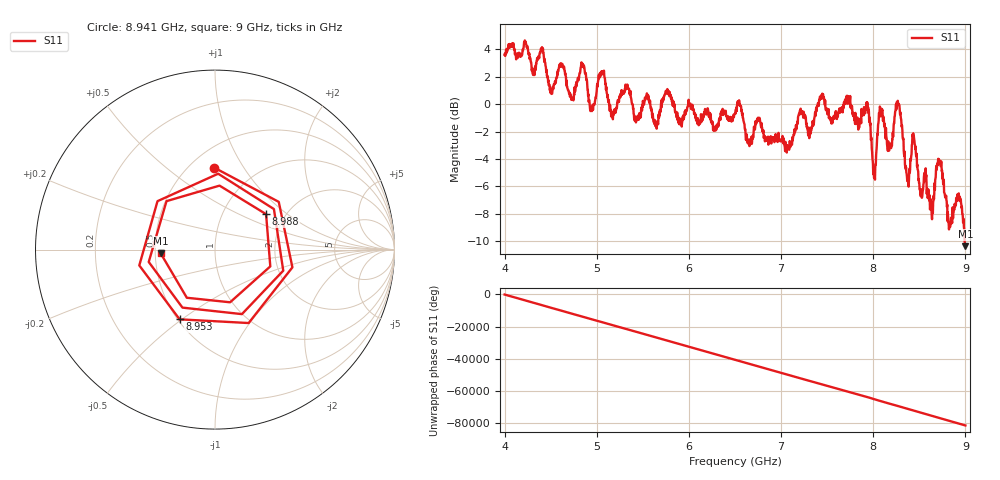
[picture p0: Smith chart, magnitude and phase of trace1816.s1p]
! Created with skrf 1.8.0 (http://scikit-rf.org).
# Hz S RI R 50.0
!freq ReS11 ImS11
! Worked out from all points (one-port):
!   1601 points, 4 GHz to 9 GHz, reference 50 ohm
!   lowest |S11| = -10.3 dB at 9 GHz (marker M1), VSWR 1.87, Z = 26.7 - j1.17 ohm
!   |S11| at or under -10 dB: 8.992026 GHz to end of sweep
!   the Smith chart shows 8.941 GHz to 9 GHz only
!   S11 on the Smith chart (normalised r, x): 8.941 GHz: 0.65, +0.75; 8.953 GHz: 0.51, -0.49; 8.988 GHz: 1.60, +0.72; 9 GHz: 0.53, -0.02
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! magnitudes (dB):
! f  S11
! 4 GHz  3.6
! 4.403 GHz  4.0
! 4.506 GHz  0.8
! 4.625 GHz  2.9
! 4.725 GHz  0.3
! 4.844 GHz  2.9
! 4.938 GHz  -0.4
! 5.053 GHz  2.4
! 5.162 GHz  -0.6
! 5.25 GHz  0.5
! 5.875 GHz  -0.7
! 6.5 GHz  -0.6
! 7.125 GHz  -2.7
! 7.75 GHz  0.6
! 7.941 GHz  -0.5
! 8.009 GHz  -5.4
! 8.078 GHz  -0.5
! 8.178 GHz  -2.9
! 8.269 GHz  0.1
! 8.375 GHz  -5.3
! 8.444 GHz  -2.5
! 8.628 GHz  -7.4
! 8.716 GHz  -4.3
! 8.831 GHz  -8.9
! 8.941 GHz  -6.8
! 8.953 GHz  -7.2
! 8.988 GHz  -9.2
! 9 GHz  -10.3
